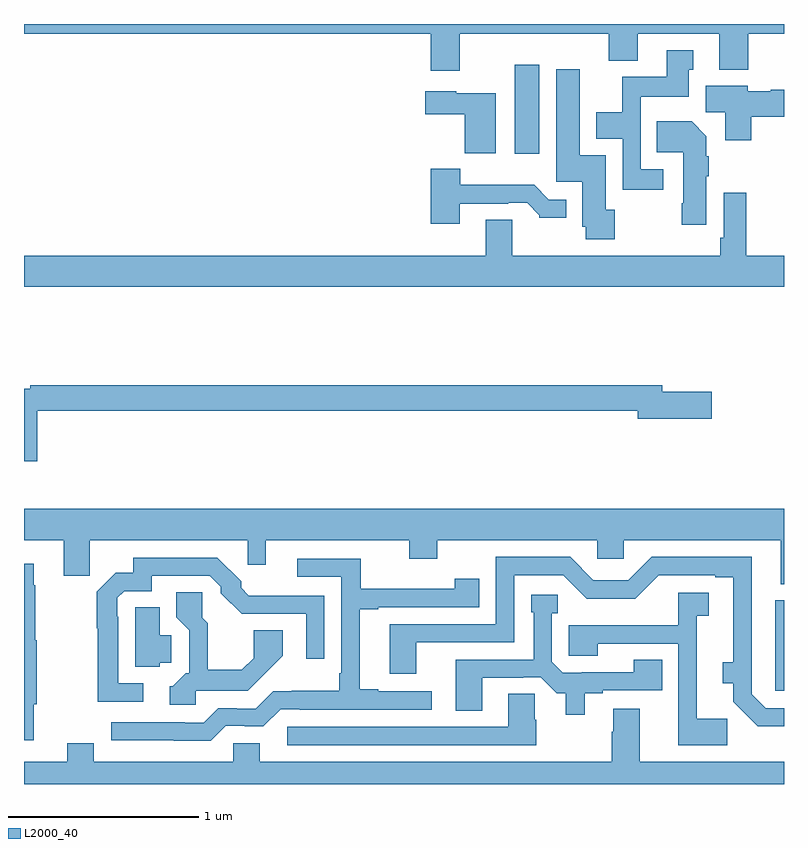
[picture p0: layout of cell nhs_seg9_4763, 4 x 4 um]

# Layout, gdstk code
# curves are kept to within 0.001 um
import gdstk
lib = gdstk.Library(unit=1e-6, precision=1e-09)
def R(c, l, rs):  # rectangles x0, y0, x1, y1
    for r in rs: c.add(gdstk.rectangle(r[:2], r[2:], *l))
def P(c, l, *ps):  # polygons
    for p in ps: c.add(gdstk.Polygon(p, *l))
L2000_40 = (2000, 40)

nhs_seg9_4763 = lib.new_cell('nhs_seg9_4763')
R(nhs_seg9_4763, L2000_40, [(390.954,1164.99,391,1165.467), (389.582,1167.816,389.713,1168.285)])
P(nhs_seg9_4763, L2000_40, [(389.293,1168.448),(390.077,1168.448),(390.077,1168.307),(390.229,1168.307),(390.229,1168.448),(390.659,1168.448),(390.659,1168.259),(390.812,1168.259),(390.812,1168.448),(391,1168.448),(391,1168.5),(387,1168.5),(387,1168.448),(389.141,1168.448),(389.141,1168.254),(389.293,1168.254)],
  [(390.364,1167.735),(390.246,1167.735),(390.246,1168.118),(390.499,1168.118),(390.499,1168.26),(390.523,1168.26),(390.523,1168.363),(390.383,1168.363),(390.383,1168.222),(390.148,1168.222),(390.148,1168.036),(390.011,1168.036),(390.011,1167.896),(390.15,1167.896),(390.15,1167.627),(390.364,1167.627)],
  [(390.108,1167.522),(390.061,1167.522),(390.061,1167.808),(389.926,1167.808),(389.926,1168.261),(389.801,1168.261),(389.801,1167.669),(389.939,1167.669),(389.939,1167.432),(389.956,1167.432),(389.956,1167.366),(390.108,1167.366)],
  [(390.827,1168.013),(391,1168.013),(391,1168.155),(390.93,1168.155),(390.93,1168.147),(390.81,1168.147),(390.81,1168.174),(390.587,1168.174),(390.587,1168.036),(390.692,1168.036),(390.692,1167.888),(390.827,1167.888)],
  [(389.482,1168.135),(389.274,1168.135),(389.274,1168.147),(389.112,1168.147),(389.112,1168.025),(389.32,1168.025),(389.32,1167.821),(389.482,1167.821)],
  [(390.592,1167.7),(390.605,1167.7),(390.605,1167.803),(390.592,1167.803),(390.592,1167.91),(390.514,1167.988),(390.331,1167.988),(390.331,1167.824),(390.47,1167.824),(390.47,1167.556),(390.463,1167.556),(390.463,1167.444),(390.592,1167.444)],
  [(389.293,1167.555),(389.549,1167.555),(389.549,1167.558),(389.648,1167.558),(389.712,1167.494),(389.712,1167.479),(389.854,1167.479),(389.854,1167.576),(389.763,1167.576),(389.685,1167.655),(389.296,1167.655),(389.296,1167.739),(389.141,1167.739),(389.141,1167.45),(389.293,1167.45)],
  [(391,1167.28),(390.8,1167.28),(390.8,1167.613),(390.684,1167.613),(390.684,1167.376),(390.664,1167.376),(390.664,1167.28),(389.569,1167.28),(389.569,1167.47),(389.429,1167.47),(389.429,1167.28),(387,1167.28),(387,1167.116),(391,1167.116)],
  [(387.071,1166.464),(390.23,1166.464),(390.23,1166.422),(390.619,1166.422),(390.619,1166.564),(390.358,1166.564),(390.358,1166.6),(387.034,1166.6),(387.034,1166.58),(387,1166.58),(387,1166.199),(387.071,1166.199)],
  [(391,1165.948),(387,1165.948),(387,1165.784),(387.209,1165.784),(387.209,1165.596),(387.347,1165.596),(387.347,1165.784),(388.177,1165.784),(388.177,1165.655),(388.273,1165.655),(388.273,1165.784),(389.027,1165.784),(389.027,1165.685),(389.175,1165.685),(389.175,1165.784),(390.018,1165.784),(390.018,1165.686),(390.156,1165.686),(390.156,1165.784),(390.983,1165.784),(390.983,1165.552),(391,1165.552)],
  [(390.964,1164.804),(391,1164.804),(391,1164.9),(390.903,1164.9),(390.831,1164.972),(390.831,1165.695),(390.303,1165.695),(390.18,1165.572),(389.997,1165.572),(389.874,1165.695),(389.484,1165.695),(389.484,1165.341),(388.925,1165.341),(388.925,1165.08),(389.065,1165.08),(389.065,1165.245),(389.58,1165.245),(389.58,1165.599),(389.838,1165.599),(389.962,1165.475),(390.216,1165.475),(390.34,1165.599),(390.638,1165.599),(390.638,1165.587),(390.734,1165.587),(390.734,1165.141),(390.677,1165.141),(390.677,1165.031),(390.734,1165.031),(390.734,1164.932),(390.863,1164.803)],
  [(387.628,1165.029),(387.495,1165.029),(387.495,1165.379),(387.492,1165.379),(387.492,1165.479),(387.528,1165.515),(387.672,1165.515),(387.672,1165.596),(387.978,1165.596),(388.035,1165.539),(388.035,1165.505),(388.145,1165.395),(388.485,1165.395),(388.485,1165.158),(388.581,1165.158),(388.581,1165.491),(388.184,1165.492),(388.144,1165.533),(388.144,1165.567),(388.018,1165.692),(387.574,1165.692),(387.574,1165.612),(387.484,1165.612),(387.384,1165.512),(387.384,1165.321),(387.387,1165.321),(387.387,1164.933),(387.628,1164.933)],
  [(388.062,1164.807),(388.163,1164.807),(388.163,1164.804),(388.26,1164.804),(388.35,1164.894),(388.45,1164.894),(388.45,1164.891),(389.146,1164.891),(389.146,1164.987),(388.864,1164.987),(388.864,1165),(388.768,1165),(388.768,1165.419),(388.864,1165.419),(388.864,1165.431),(389.395,1165.431),(389.395,1165.579),(389.267,1165.579),(389.267,1165.528),(388.772,1165.528),(388.772,1165.686),(388.437,1165.686),(388.437,1165.59),(388.671,1165.59),(388.671,1165.084),(388.659,1165.084),(388.659,1164.991),(388.408,1164.991),(388.408,1164.987),(388.311,1164.987),(388.221,1164.897),(388.121,1164.897),(388.121,1164.9),(388.023,1164.9),(387.945,1164.822),(387.845,1164.822),(387.845,1164.825),(387.459,1164.825),(387.459,1164.729),(387.983,1164.728)],
  [(387.052,1164.921),(387.066,1164.921),(387.066,1165.257),(387.06,1165.257),(387.06,1165.547),(387.052,1165.547),(387.052,1165.66),(387,1165.66),(387,1164.729),(387.052,1164.729)],
  [(387.903,1164.99),(388.177,1164.99),(388.363,1165.174),(388.363,1165.31),(388.209,1165.31),(388.209,1165.162),(388.147,1165.101),(387.968,1165.101),(387.968,1165.346),(387.939,1165.375),(387.939,1165.51),(387.8,1165.51),(387.8,1165.378),(387.87,1165.308),(387.87,1165.083),(387.852,1165.083),(387.783,1165.014),(387.767,1165.014),(387.767,1164.918),(387.903,1164.918)],
  [(390.702,1164.843),(390.541,1164.843),(390.541,1165.386),(390.604,1165.386),(390.604,1165.507),(390.444,1165.507),(390.444,1165.336),(389.977,1165.336),(389.977,1165.335),(389.867,1165.335),(389.867,1165.174),(390.021,1165.174),(390.021,1165.239),(390.444,1165.239),(390.444,1164.704),(390.702,1164.704)],
  [(389.95,1164.978),(390.046,1164.978),(390.046,1164.993),(390.359,1164.993),(390.359,1165.154),(390.208,1165.154),(390.208,1165.089),(389.935,1165.089),(389.935,1165.086),(389.835,1165.086),(389.778,1165.143),(389.778,1165.399),(389.808,1165.399),(389.808,1165.497),(389.669,1165.497),(389.669,1165.404),(389.682,1165.404),(389.682,1165.155),(389.273,1165.155),(389.273,1164.886),(389.413,1164.886),(389.413,1165.059),(389.627,1165.059),(389.627,1165.062),(389.721,1165.062),(389.805,1164.978),(389.852,1164.978),(389.852,1164.864),(389.95,1164.864)],
  [(387.714,1165.137),(387.774,1165.137),(387.774,1165.283),(387.715,1165.283),(387.715,1165.43),(387.585,1165.43),(387.585,1165.118),(387.714,1165.118)],
  [(389.697,1164.837),(389.687,1164.837),(389.687,1164.974),(389.549,1164.974),(389.549,1164.801),(388.386,1164.801),(388.386,1164.705),(389.697,1164.705)],
  [(391,1164.616),(390.241,1164.616),(390.241,1164.895),(390.101,1164.895),(390.101,1164.776),(390.094,1164.776),(390.094,1164.616),(388.24,1164.616),(388.24,1164.714),(388.101,1164.714),(388.101,1164.616),(387.367,1164.616),(387.367,1164.715),(387.227,1164.715),(387.227,1164.616),(387,1164.616),(387,1164.5),(391,1164.5)])

lib.write_gds('nhs_seg9_4763.gds')
